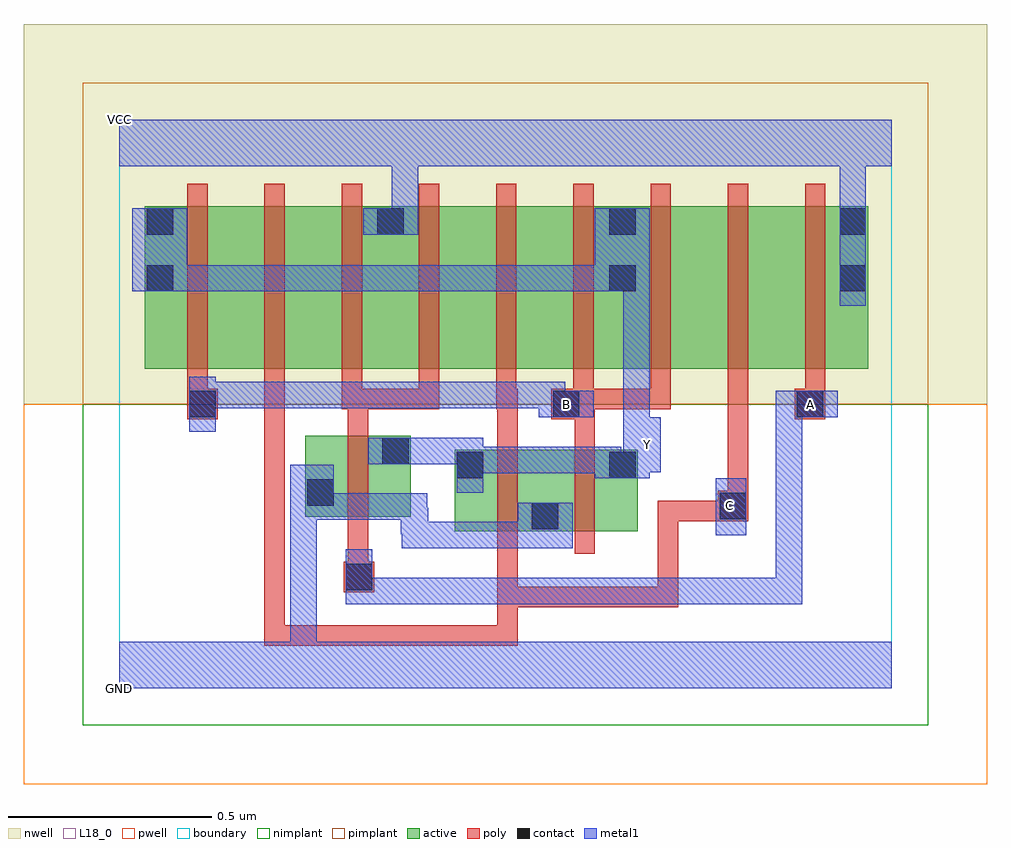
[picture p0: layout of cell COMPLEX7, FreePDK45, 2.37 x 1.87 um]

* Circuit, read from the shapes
.subckt COMPLEX7 A B C GND VCC Y
M1 Y A GND VSUBS nfet w=0.2u l=0.05u
M2 GND C Y VSUBS nfet w=0.2u l=0.05u
M3 Y B GND VSUBS nfet w=0.2u l=0.05u
M4 n1 B Y n2 pfet w=0.4u l=0.05u
M5 n3 C n1 n2 pfet w=0.4u l=0.05u
M6 VCC A n3 n2 pfet w=0.4u l=0.05u
M7 n4 A VCC n2 pfet w=0.4u l=0.05u
M8 n5 C n4 n2 pfet w=0.4u l=0.05u
M9 Y B n5 n2 pfet w=0.4u l=0.05u
M10 n6 B Y n2 pfet w=0.4u l=0.05u
M11 n7 C n6 n2 pfet w=0.4u l=0.05u
M12 VCC A n7 n2 pfet w=0.4u l=0.05u
.ends

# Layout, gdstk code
import gdstk
lib = gdstk.Library(unit=1e-6, precision=1e-09)
def R(c, l, rs):  # rectangles x0, y0, x1, y1
    for r in rs: c.add(gdstk.rectangle(r[:2], r[2:], *l))
def A(c, l, x, y, w, h, nx, ny, dx, dy):  # array of equal rectangles
    R(c, l, [(x+i*dx, y+j*dy, x+i*dx+w, y+j*dy+h) for i in range(nx) for j in range(ny)])
active = (1, 0)
pwell = (2, 0)
nwell = (3, 0)
nimplant = (4, 0)
pimplant = (5, 0)
poly = (9, 0)
contact = (10, 0)
metal1 = (11, 0)
L18_0 = (18, 0)
boundary = (235, 0)

complex7 = lib.new_cell('COMPLEX7')
A(complex7, active, 0.287, 0.787, 0.19, 0.4, 3, 1, 0.57, 0)
R(complex7, active, [(0.825,0.387,1.085,0.587), (1.01,0.387,1.275,0.587), (1.01,0.387,1.085,0.587), (0.457,0.422,0.717,0.622), (0.457,0.445,0.532,0.622), (0.642,0.445,0.717,0.622), (0.825,0.445,0.9,0.587), (1.2,0.445,1.275,0.587), (0.062,0.787,0.137,1.187), (0.062,0.787,0.287,1.187), (0.477,0.787,0.705,1.187), (0.63,0.787,0.857,1.187), (1.047,0.787,1.275,1.187), (1.2,0.787,1.427,1.187), (1.617,0.787,1.842,1.187), (1.767,0.787,1.842,1.187), (0.63,0.85,0.705,1.187), (1.2,0.907,1.275,1.187)])
R(complex7, pwell, [(-0.235,-0.235,2.135,0.7)])
R(complex7, nwell, [(-0.235,0.7,2.135,1.635)])
R(complex7, nimplant, [(-0.09,-0.09,1.99,0.7)])
R(complex7, pimplant, [(-0.09,0.7,1.99,1.49)])
A(complex7, poly, 0.547, 0.687, 0.05, 0.095, 5, 1, 0.19, 0)
A(complex7, poly, 0.167, 0.732, 0.05, 0.51, 9, 1, 0.19, 0)
R(complex7, poly, [(0.357,0.105,0.407,0.155), (0.357,0.105,0.407,0.155), (0.357,0.105,0.407,0.155), (0.357,0.105,0.407,0.155), (0.357,0.105,0.407,0.155), (0.357,0.105,0.407,0.155), (0.357,0.105,0.407,0.155), (0.357,0.105,0.407,0.155), (0.357,0.105,0.407,0.155), (0.357,0.105,0.407,0.155), (0.357,0.105,0.407,0.155), (0.357,0.105,0.655,0.155), (0.357,0.105,0.407,0.782), (0.605,0.105,0.655,0.155), (0.605,0.105,0.655,0.155), (0.605,0.105,0.655,0.155), (0.605,0.105,0.845,0.155), (0.795,0.105,0.845,0.155), (0.795,0.105,0.845,0.155), (0.795,0.105,0.845,0.155), (0.795,0.105,0.98,0.155), (0.93,0.105,0.98,0.155), (0.93,0.105,0.98,0.25), (0.93,0.2,0.98,0.25), (0.93,0.2,0.98,0.25), (0.93,0.2,0.98,0.25), (0.93,0.2,1.112,0.25), (0.93,0.2,0.98,0.382), (1.062,0.2,1.112,0.25), (1.062,0.2,1.112,0.25), (1.062,0.2,1.112,0.25), (1.062,0.2,1.375,0.25), (1.325,0.2,1.375,0.25), (1.325,0.2,1.375,0.462), (0.552,0.237,0.627,0.312), (0.562,0.262,0.612,0.417), (0.93,0.332,0.98,0.642), (1.12,0.332,1.17,0.642), (0.562,0.367,0.612,0.677), (1.325,0.412,1.375,0.462), (1.325,0.412,1.522,0.462), (1.472,0.412,1.547,0.487), (1.472,0.412,1.522,0.462), (1.472,0.412,1.522,0.462), (1.472,0.412,1.522,0.462), (1.472,0.412,1.522,0.462), (1.472,0.412,1.522,0.462), (1.472,0.412,1.522,0.462), (1.497,0.437,1.547,0.782), (0.93,0.592,0.98,0.737), (1.12,0.592,1.17,0.712), (0.562,0.627,0.612,0.737), (0.167,0.662,0.242,0.737), (1.062,0.662,1.17,0.737), (1.662,0.662,1.737,0.737), (0.167,0.687,0.217,0.782), (0.547,0.687,0.612,0.737), (0.562,0.687,0.612,0.737), (0.562,0.687,0.612,0.737), (0.562,0.687,0.787,0.737), (0.737,0.687,0.787,0.737), (0.927,0.687,0.98,0.737), (1.12,0.687,1.357,0.737), (1.307,0.687,1.357,0.737), (1.307,0.687,1.357,0.737), (1.307,0.687,1.357,0.737), (1.687,0.687,1.737,0.782)])
R(complex7, contact, [(0.557,0.242,0.622,0.307), (1.015,0.392,1.08,0.457), (1.477,0.417,1.542,0.482), (0.462,0.45,0.527,0.515), (0.83,0.517,0.895,0.582), (1.205,0.517,1.27,0.582), (0.647,0.552,0.712,0.617), (0.172,0.667,0.237,0.732), (1.067,0.667,1.132,0.732), (1.667,0.667,1.732,0.732), (0.067,0.977,0.132,1.042), (1.205,0.977,1.27,1.042), (1.772,0.977,1.837,1.042), (0.067,1.117,0.132,1.182), (0.635,1.117,0.7,1.182), (1.205,1.117,1.27,1.182), (1.772,1.117,1.837,1.182)])
R(complex7, metal1, [(0,0,1.9,0.115), (0.42,0.05,0.485,0.115), (0.42,0.05,0.485,0.115), (0.42,0.05,0.485,0.115), (0.42,0.05,0.485,0.115), (0.42,0.05,0.485,0.48), (0.557,0.207,0.622,0.342), (0.557,0.207,0.665,0.272), (0.6,0.207,0.665,0.272), (0.6,0.207,0.76,0.272), (0.695,0.207,0.76,0.272), (0.695,0.207,0.897,0.272), (0.832,0.207,0.897,0.272), (0.832,0.207,0.897,0.272), (0.832,0.207,0.897,0.272), (0.832,0.207,1.097,0.272), (1.032,0.207,1.097,0.272), (1.032,0.207,1.097,0.272), (1.032,0.207,1.097,0.272), (1.032,0.207,1.372,0.272), (1.307,0.207,1.372,0.272), (1.307,0.207,1.372,0.272), (1.307,0.207,1.372,0.272), (1.307,0.207,1.372,0.272), (1.307,0.207,1.372,0.272), (1.307,0.207,1.542,0.272), (1.477,0.207,1.542,0.272), (1.477,0.207,1.542,0.272), (1.477,0.207,1.542,0.272), (1.477,0.207,1.542,0.272), (1.477,0.207,1.542,0.272), (1.477,0.207,1.68,0.272), (1.615,0.207,1.68,0.732), (1.615,0.207,1.68,0.272), (0.695,0.345,0.897,0.41), (0.695,0.345,0.76,0.445), (0.832,0.345,0.897,0.41), (0.832,0.345,0.897,0.41), (0.832,0.345,0.897,0.41), (0.832,0.345,1.045,0.41), (0.98,0.345,1.115,0.457), (1.467,0.377,1.542,0.517), (0.692,0.38,0.76,0.445), (0.692,0.38,0.757,0.48), (0.42,0.415,0.485,0.48), (0.42,0.415,0.485,0.48), (0.42,0.415,0.527,0.55), (0.462,0.415,0.58,0.48), (0.515,0.415,0.58,0.48), (0.515,0.415,0.757,0.48), (0.83,0.482,0.895,0.617), (1.17,0.517,1.305,0.582), (1.17,0.517,1.235,0.582), (1.17,0.517,1.235,0.595), (1.24,0.517,1.305,0.597), (0.83,0.53,0.96,0.595), (0.895,0.53,0.96,0.595), (0.895,0.53,1.035,0.595), (0.97,0.53,1.035,0.595), (0.97,0.53,1.235,0.595), (1.24,0.532,1.332,0.667), (0.612,0.552,0.747,0.617), (0.682,0.552,0.76,0.617), (0.695,0.552,0.76,0.617), (0.695,0.552,0.895,0.617), (1.24,0.602,1.305,1.042), (0.172,0.632,0.237,0.767), (1.032,0.667,1.167,0.732), (1.032,0.667,1.097,0.732), (1.032,0.667,1.097,0.755), (1.615,0.667,1.697,0.732), (1.615,0.667,1.68,0.732), (1.632,0.667,1.767,0.732), (0.172,0.69,0.305,0.755), (0.24,0.69,0.305,0.755), (0.24,0.69,0.442,0.755), (0.377,0.69,0.442,0.755), (0.377,0.69,0.442,0.755), (0.377,0.69,0.442,0.755), (0.377,0.69,0.622,0.755), (0.557,0.69,0.622,0.755), (0.557,0.69,0.665,0.755), (0.6,0.69,0.665,0.755), (0.6,0.69,0.76,0.755), (0.695,0.69,0.76,0.755), (0.695,0.69,0.897,0.755), (0.832,0.69,0.897,0.755), (0.832,0.69,0.897,0.755), (0.832,0.69,0.897,0.755), (0.832,0.69,1.097,0.755), (1.772,0.942,1.837,1.217), (0.032,0.977,0.167,1.182), (0.102,0.977,0.167,1.042), (0.102,0.977,0.167,1.042), (0.102,0.977,0.305,1.042), (0.24,0.977,0.305,1.042), (0.24,0.977,0.442,1.042), (0.377,0.977,0.442,1.042), (0.377,0.977,0.442,1.042), (0.377,0.977,0.442,1.042), (0.377,0.977,0.622,1.042), (0.557,0.977,0.622,1.042), (0.557,0.977,0.757,1.042), (0.692,0.977,0.757,1.042), (0.692,0.977,0.76,1.042), (0.695,0.977,0.76,1.042), (0.695,0.977,0.897,1.042), (0.832,0.977,0.897,1.042), (0.832,0.977,0.897,1.042), (0.832,0.977,0.897,1.042), (0.832,0.977,1.097,1.042), (1.032,0.977,1.097,1.042), (1.032,0.977,1.097,1.042), (1.032,0.977,1.097,1.042), (1.032,0.977,1.235,1.042), (1.17,0.977,1.305,1.182), (0.6,1.117,0.735,1.182), (0.67,1.117,0.735,1.35), (1.772,1.152,1.837,1.35), (0,1.285,1.9,1.4)])
R(complex7, L18_0, [(0,0,1.9,0.115), (0.42,0.05,0.485,0.115), (0.42,0.05,0.485,0.115), (0.42,0.05,0.485,0.115), (0.42,0.05,0.485,0.115), (0.42,0.05,0.485,0.48), (0.557,0.207,0.622,0.342), (0.557,0.207,0.665,0.272), (0.6,0.207,0.665,0.272), (0.6,0.207,0.76,0.272), (0.695,0.207,0.76,0.272), (0.695,0.207,0.897,0.272), (0.832,0.207,0.897,0.272), (0.832,0.207,0.897,0.272), (0.832,0.207,0.897,0.272), (0.832,0.207,1.097,0.272), (1.032,0.207,1.097,0.272), (1.032,0.207,1.097,0.272), (1.032,0.207,1.097,0.272), (1.032,0.207,1.372,0.272), (1.307,0.207,1.372,0.272), (1.307,0.207,1.372,0.272), (1.307,0.207,1.372,0.272), (1.307,0.207,1.372,0.272), (1.307,0.207,1.372,0.272), (1.307,0.207,1.542,0.272), (1.477,0.207,1.542,0.272), (1.477,0.207,1.542,0.272), (1.477,0.207,1.542,0.272), (1.477,0.207,1.542,0.272), (1.477,0.207,1.542,0.272), (1.477,0.207,1.68,0.272), (1.615,0.207,1.68,0.272), (1.615,0.207,1.68,0.732), (0.695,0.345,0.897,0.41), (0.695,0.345,0.76,0.445), (0.832,0.345,0.897,0.41), (0.832,0.345,0.897,0.41), (0.832,0.345,0.897,0.41), (0.832,0.345,1.045,0.41), (0.98,0.345,1.115,0.457), (1.467,0.377,1.542,0.517), (0.692,0.38,0.757,0.48), (0.692,0.38,0.76,0.445), (0.42,0.415,0.485,0.48), (0.42,0.415,0.485,0.48), (0.42,0.415,0.527,0.55), (0.462,0.415,0.58,0.48), (0.515,0.415,0.58,0.48), (0.515,0.415,0.757,0.48), (1.467,0.417,1.532,0.482), (0.83,0.482,0.895,0.617), (1.17,0.517,1.235,0.582), (1.17,0.517,1.305,0.582), (1.17,0.517,1.235,0.595), (1.24,0.517,1.305,0.597), (0.83,0.53,0.96,0.595), (0.895,0.53,0.96,0.595), (0.895,0.53,1.035,0.595), (0.97,0.53,1.035,0.595), (0.97,0.53,1.235,0.595), (1.24,0.532,1.332,0.667), (0.612,0.552,0.747,0.617), (0.682,0.552,0.76,0.617), (0.695,0.552,0.76,0.617), (0.695,0.552,0.895,0.617), (1.267,0.567,1.332,0.632), (1.24,0.602,1.305,1.042), (0.172,0.632,0.237,0.767), (1.032,0.667,1.097,0.732), (1.032,0.667,1.167,0.732), (1.032,0.667,1.097,0.755), (1.067,0.667,1.132,0.732), (1.615,0.667,1.68,0.732), (1.615,0.667,1.697,0.732), (1.632,0.667,1.767,0.732), (1.667,0.667,1.732,0.732), (0.172,0.69,0.305,0.755), (0.24,0.69,0.305,0.755), (0.24,0.69,0.442,0.755), (0.377,0.69,0.442,0.755), (0.377,0.69,0.442,0.755), (0.377,0.69,0.442,0.755), (0.377,0.69,0.622,0.755), (0.557,0.69,0.622,0.755), (0.557,0.69,0.665,0.755), (0.6,0.69,0.665,0.755), (0.6,0.69,0.76,0.755), (0.695,0.69,0.76,0.755), (0.695,0.69,0.897,0.755), (0.832,0.69,0.897,0.755), (0.832,0.69,0.897,0.755), (0.832,0.69,0.897,0.755), (0.832,0.69,1.097,0.755), (1.772,0.942,1.837,1.217), (0.032,0.977,0.167,1.182), (0.102,0.977,0.167,1.042), (0.102,0.977,0.167,1.042), (0.102,0.977,0.305,1.042), (0.24,0.977,0.305,1.042), (0.24,0.977,0.442,1.042), (0.377,0.977,0.442,1.042), (0.377,0.977,0.442,1.042), (0.377,0.977,0.442,1.042), (0.377,0.977,0.622,1.042), (0.557,0.977,0.622,1.042), (0.557,0.977,0.757,1.042), (0.692,0.977,0.757,1.042), (0.692,0.977,0.76,1.042), (0.695,0.977,0.76,1.042), (0.695,0.977,0.897,1.042), (0.832,0.977,0.897,1.042), (0.832,0.977,0.897,1.042), (0.832,0.977,0.897,1.042), (0.832,0.977,1.097,1.042), (1.032,0.977,1.097,1.042), (1.032,0.977,1.097,1.042), (1.032,0.977,1.097,1.042), (1.032,0.977,1.235,1.042), (1.17,0.977,1.305,1.182), (0.6,1.117,0.735,1.182), (0.67,1.117,0.735,1.35), (1.772,1.152,1.837,1.35), (0,1.285,1.9,1.4)])
R(complex7, boundary, [(0,0,1.9,1.4)])
complex7.add(gdstk.Label('A', (1.7,0.7), layer=11, texttype=0))
complex7.add(gdstk.Label('B', (1.1,0.7), layer=11, texttype=0))
complex7.add(gdstk.Label('C', (1.5,0.45), layer=11, texttype=0))
complex7.add(gdstk.Label('Y', (1.3,0.6), layer=11, texttype=0))
complex7.add(gdstk.Label('VCC', (0,1.4), layer=11, texttype=0))
complex7.add(gdstk.Label('GND', (0,0), layer=11, texttype=0))

lib.write_gds('COMPLEX7.gds')
